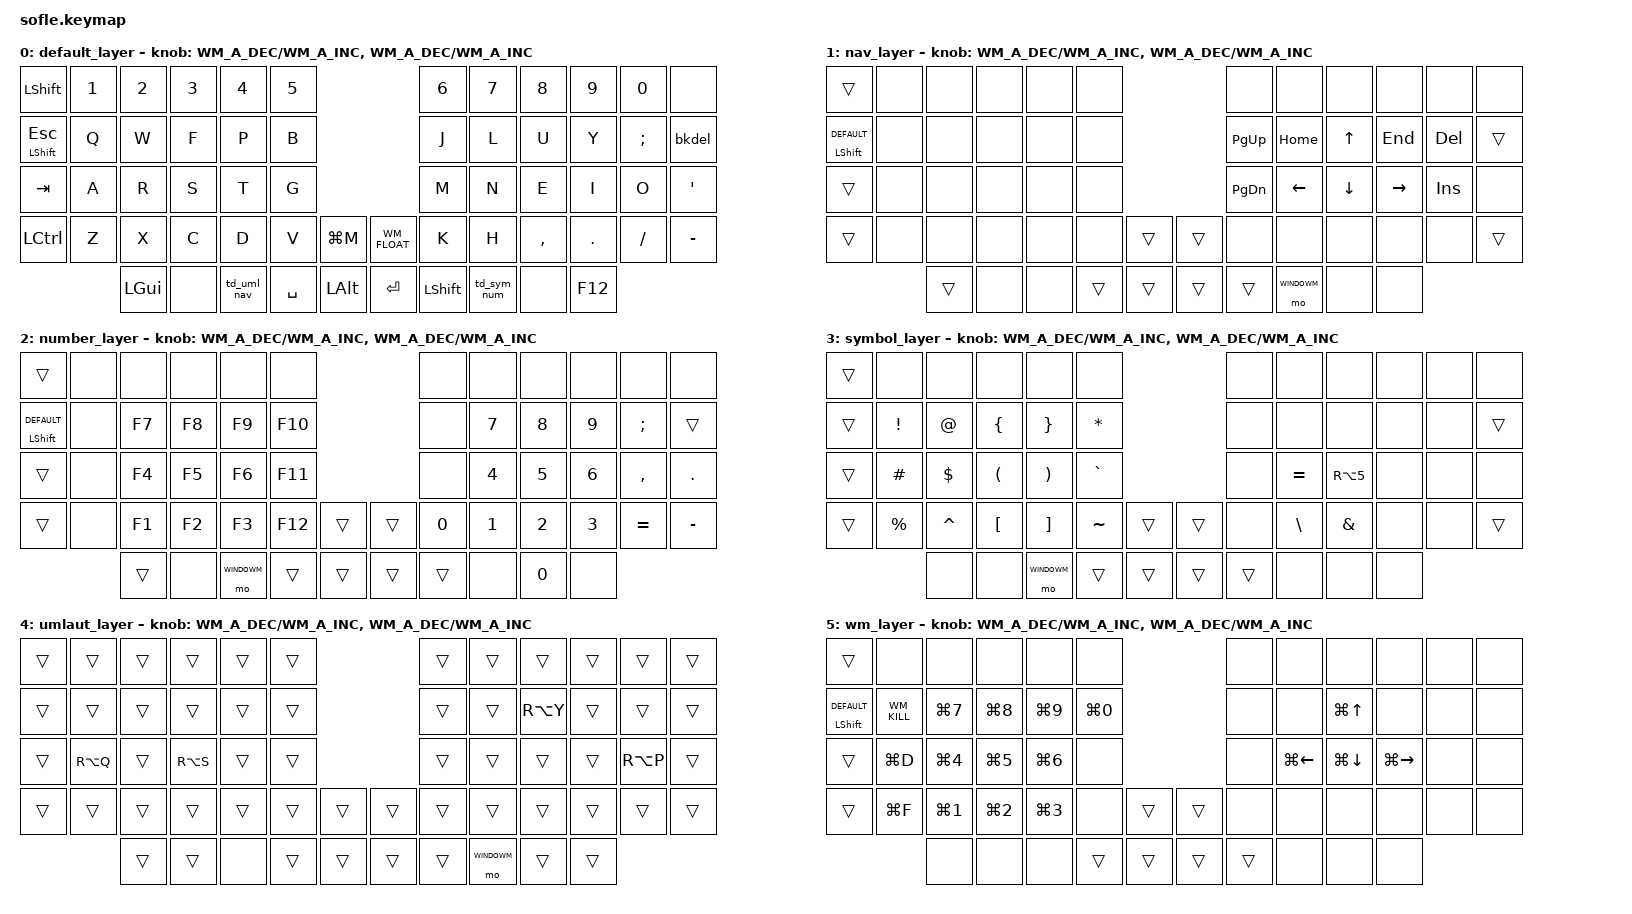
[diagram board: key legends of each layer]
/*
 * Copyright (c) 2020 The ZMK Contributors
 *
 * SPDX-License-Identifier: MIT
 */

#include <behaviors.dtsi>
#include <dt-bindings/zmk/keys.h>
#include <dt-bindings/zmk/bt.h>

#define UML_A RA(Q)
#define UML_S RA(S)
#define UML_U RA(Y)
#define UML_O RA(P)

#define SPC_E RA(N5)

#define WM_MUTE LG(M)
#define WM_A_INC LG(I)
#define WM_A_DEC LG(O)

#define WM_UP LG(UP)
#define WM_DOWN LG(DOWN)
#define WM_LEFT LG(LEFT)
#define WM_RIGHT LG(RIGHT)

#define WM_1 LG(N1)
#define WM_2 LG(N2)
#define WM_3 LG(N3)
#define WM_4 LG(N4)
#define WM_5 LG(N5)
#define WM_6 LG(N6)
#define WM_7 LG(N7)
#define WM_8 LG(N8)
#define WM_9 LG(N9)
#define WM_0 LG(N0)

#define WM_LAUN LG(D)
#define WM_FSCR LG(F)

#define DEFAULT    0
#define NAVIGATION 1
#define NUMBER     2
#define SYMBOL     3
#define UMLAUT     4
#define WINDOWM    5

#define ESCSHIFT &ho_tap LSHFT ESC
#define BACKSHIFT &ho_to LSHFT DEFAULT

/ {
    macros {
        WM_KILL: WM_KILL {
            label = "WM_KILL";
            compatible = "zmk,behavior-macro";
            #binding-cells = <0>;
            bindings
                = <&macro_press   &kp RGUI>
                , <&macro_press   &kp LSHFT>
                , <&macro_tap     &kp Q>
                , <&macro_release &kp LSHFT>
                , <&macro_release &kp RGUI>
                ;
        };
        WM_FLOAT: WM_FLOAT {
            label = "WM_FLOAT";
            compatible = "zmk,behavior-macro";
            #binding-cells = <0>;
            bindings
                = <&macro_press   &kp RGUI>
                , <&macro_press   &kp LSHFT>
                , <&macro_tap     &kp SPACE>
                , <&macro_release &kp LSHFT>
                , <&macro_release &kp RGUI>
                ;
        };
    };

    behaviors {
        bkdel: backspace_delete {
            compatible = "zmk,behavior-mod-morph";
            label = "BACKSPACE_DELETE";
            #binding-cells = <0>;
            bindings = <&kp BSPC>, <&kp DEL>;
            mods = <(MOD_LSFT)>;
        };
        mo_to: behavior_mo_to {
            compatible = "zmk,behavior-hold-tap";
            label = "mo_to";
            #binding-cells = <2>;
            flavor = "hold-preferred";
            tapping-term-ms = <200>;
            bindings = <&mo>, <&to>;
        };
        ho_tap: behavior_ho_tap {
            compatible = "zmk,behavior-hold-tap";
            label = "ho_tap";
            #binding-cells = <2>;
            flavor = "hold-preferred";
            tapping-term-ms = <200>;
            bindings = <&kp>, <&kp>;
        };
        ho_to: behavior_ho_to {
            compatible = "zmk,behavior-hold-tap";
            label = "ho_to";
            #binding-cells = <2>;
            flavor = "hold-preferred";
            tapping-term-ms = <200>;
            bindings = <&kp>, <&to>;
        };
        td_uml_nav: behavior_td_uml_nav {
            compatible = "zmk,behavior-tap-dance";
            label = "Tap Dance Umlaut Navigation";
            #binding-cells = <0>;
            tapping-term-ms = <200>;
            bindings = <&mo UMLAUT>, <&mo NAVIGATION>;
        };
        td_sym_num: behavior_td_sym_num {
            compatible = "zmk,behavior-tap-dance";
            label = "Tap Dance Symbol Number";
            #binding-cells = <0>;
            tapping-term-ms = <200>;
            bindings = <&mo SYMBOL>, <&mo NUMBER>;
        };
    };    

    keymap {
        compatible = "zmk,keymap";

        default_layer {
// ---------------------------------------------------------------------------------------------------------------
// | SHIFT |  1  |  2  |  3   |  4      |  5   |                  |  6   | 7       |  8    |  9   |   0   | ---- |
// |  ESCS |  Q  |  W  |  F   |  P      |  B   |                  |  J   | L       |  U    |  Y   |   ;   | BKSP |
// |  TAB  |  A  |  R  |  S   |  T      |  G   |                  |  M   | N       |  E    |  I   |   O   |   '  |
// |  CTRL |  Z  |  X  |  C   |  D      |  V   |  MUTE |  |       |  K   | H       |  ,    |  .   |   /   |   -  |
//               | GUI | ALT  | NAV_UML | SPACE|  ALT  |  | RETURN| SHIFT| NUM_SYM | ----- | F12  |
            bindings = <
&kp LSHFT &kp N1 &kp N2   &kp N3 &kp N4       &kp N5                           &kp N6     &kp N7      &kp N8    &kp N9   &kp N0   &none
ESCSHIFT  &kp Q  &kp W    &kp F  &kp P        &kp B                            &kp J      &kp L       &kp U     &kp Y    &kp SEMI &bkdel
&kp TAB   &kp A  &kp R    &kp S  &kp T        &kp G                            &kp M      &kp N       &kp E     &kp I    &kp O    &kp SQT
&kp LCTRL &kp Z  &kp X    &kp C  &kp D        &kp V     &kp WM_MUTE &WM_FLOAT  &kp K      &kp H       &kp COMMA &kp DOT  &kp FSLH &kp MINUS
                 &kp LGUI &none  &td_uml_nav  &kp SPACE &kp LALT    &kp RETURN &kp LSHFT  &td_sym_num &none     &kp F12
            >;

            sensor-bindings = <&inc_dec_kp WM_A_DEC WM_A_INC &inc_dec_kp WM_A_DEC WM_A_INC>;
        };

        nav_layer {
// TODO: Some binds are waiting for shifted keycode support.
// -------------------------------------------------------------------------------------------------------------
// |       | --- | --- |  --- |  --- |  --- |                   |  --- |  ---  |  ---  |  ---  |  ---  |  ---  |
// | BACK/S| --- | --- |  --- |  --- |  --- |                   |  PGU |  HOM  |  UP   |  END  |  DEL  |  BKSP |
// |       | --- | --- |  --- |  --- |  --- |                   |  PGD |  LEFT |  DOWN | RIGHT |  INS  |  ---  |
// |       | --- | --- |  --- |  --- |  --- |        |  |       |  --- |  ---  |  ---  |  ---  |  ---  |  ---  |
//               |     |  --- |  --- |      |        |  |       |      |  ---  |  ---  |  ---  |
            bindings = <
&trans      &none     &none  &none &none &none                  &none     &none       &none    &none     &none   &none
BACKSHIFT   &none     &none  &none &none &none                  &kp PG_UP &kp HOME    &kp UP   &kp END   &kp DEL &trans
&trans      &none     &none  &none &none &none                  &kp PG_DN &kp LEFT    &kp DOWN &kp RIGHT &kp INS &none
&trans      &none     &none  &none &none &none  &trans   &trans &none     &none       &none    &none     &none   &trans
                      &trans &none &none &trans &trans   &trans &trans    &mo WINDOWM &none    &none
            >;

            sensor-bindings = <&inc_dec_kp WM_A_DEC WM_A_INC &inc_dec_kp WM_A_DEC WM_A_INC>;
        };
        
        number_layer {
// TODO: Some binds are waiting for shifted keycode support.
// -------------------------------------------------------------------------------------------------------------
// |       | --- | --- |  --- |  --- |  --- |                   |  --- |  ---  |  ---  |  ---  |  ---  |  ---  |
// | BACK/S| --- | F7  |  F8  |  F9  |  F10 |                   |  --- |   7   |   8   |   9   |   ;   |       |
// |       | --- | F4  |  F5  |  F6  |  F11 |                   |  --- |   4   |   5   |   6   |   ,   |   .   |
// |       | --- | F1  |  F2  |  F3  |  F12 |        |  |       |   0  |   1   |   2   |   3   |   =   |   -   |
//               |     |  --- |  --- |      |        |  |       |      |  ---  |   0   |  ---  |
            bindings = <
&trans      &none     &none  &none  &none       &none                   &none   &none     &none     &none     &none     &none
BACKSHIFT   &none     &kp F7 &kp F8 &kp F9      &kp F10                 &none   &kp N7 &kp N8 &kp N9 &kp SEMI  &trans
&trans      &none     &kp F4 &kp F5 &kp F6      &kp F11                 &none   &kp N4 &kp N5 &kp N6 &kp COMMA &kp DOT
&trans      &none     &kp F1 &kp F2 &kp F3      &kp F12 &trans   &trans &kp N0  &kp N1 &kp N2 &kp N3 &kp EQUAL &kp MINUS
                      &trans &none  &mo WINDOWM &trans  &trans   &trans &trans  &none  &kp N0 &none
            >;

            sensor-bindings = <&inc_dec_kp WM_A_DEC WM_A_INC &inc_dec_kp WM_A_DEC WM_A_INC>;
        };
        
        symbol_layer {
// TODO: Some binds are waiting for shifted keycode support.
// -------------------------------------------------------------------------------------------------------------
// |       | --- | --- |  --- |  --- |  --- |                   |  --- |  ---  |  ---  |  ---  |  ---  |  ---  |
// |       |  !  |  @  |   {  |   }  |   *  |                   |  --- |  ---  |  ---  |  ---  |  ---  |       |
// |       |  #  |  $  |   (  |   )  |   `  |                   |  --- |   =   |   €   |  ---  |  ---  |  ---  |
// |       |  %  |  ^  |   [  |   ]  |   ~  |        |  |       |  --- |   \|  |   &   |  ---  |  ---  |  ---  |
//               | --- |  --- |  --- |      |        |  |       |      |  ---  |  ---  |  ---  |
            bindings = <
&trans &none     &none     &none    &none    &none                     &none    &none     &none     &none     &none   &none
&trans &kp EXCL  &kp AT    &kp LBRC &kp RBRC    &kp STAR                  &none    &none     &none     &none     &none   &trans
&trans &kp HASH  &kp DLLR  &kp LPAR &kp RPAR    &kp GRAVE                 &none    &kp EQUAL &kp SPC_E &none     &none    &none
&trans &kp PRCNT &kp CARET &kp LBKT &kp RBKT    &kp TILDE &trans   &trans &none    &kp BSLH  &kp AMPS  &none     &none   &trans
                 &none     &none    &mo WINDOWM &trans    &trans   &trans &trans   &none     &none     &none
            >;

            sensor-bindings = <&inc_dec_kp WM_A_DEC WM_A_INC &inc_dec_kp WM_A_DEC WM_A_INC>;
        };

        umlaut_layer {
            bindings = <
&trans &trans    &trans &trans    &trans &trans                 &trans &trans      &trans    &trans &trans    &trans
&trans &trans    &trans &trans    &trans &trans                 &trans &trans      &kp UML_U &trans &trans    &trans
&trans &kp UML_A &trans &kp UML_S &trans &trans                 &trans &trans      &trans    &trans &kp UML_O &trans
&trans &trans    &trans &trans    &trans &trans &trans   &trans &trans &trans      &trans    &trans &trans    &trans
                 &trans &trans    &none  &trans &trans   &trans &trans &mo WINDOWM &trans    &trans
            >;

            sensor-bindings = <&inc_dec_kp WM_A_DEC WM_A_INC &inc_dec_kp WM_A_DEC WM_A_INC>;
        };
        
        wm_layer {
// TODO: Some binds are waiting for shifted keycode support.
// --------------------------------------------------------------------------------------------------------------
// |       | ---  | --- |  --- |  --- |  --- |                   |  --- |  ---  |  ---  |  ---  |  ---  |  ---  |
// | BACK/S| KILL | LA7 |  LA8 |  LA9 |  --- |                   |  --- |  ---  |  UP   |  ---  |  ---  |  ---  |
// |       | LAUN | LA4 |  LA5 |  LA6 |  --- |                   |  --- |  LEFT |  DOWN | RIGHT |  ---  |  ---  |
// |       | FULL | LA1 |  LA2 |  LA3 |  --- |        |  |       |  --- |  ---  |  ---  |  ---  |  ---  |  ---  |
//                | --- |  --- |  LA0 |      |        |  |       |      |  ---  |  ---  |  ---  |
            bindings = <
&trans      &none       &none    &none    &none    &none                  &none  &none       &none       &none        &none   &none
BACKSHIFT   &WM_KILL    &kp WM_7 &kp WM_8 &kp WM_9 &kp WM_0               &none  &none       &kp WM_UP   &none        &none   &none
&trans      &kp WM_LAUN &kp WM_4 &kp WM_5 &kp WM_6 &none                  &none  &kp WM_LEFT &kp WM_DOWN &kp WM_RIGHT &none   &none
&trans      &kp WM_FSCR &kp WM_1 &kp WM_2 &kp WM_3 &none  &trans   &trans &none  &none       &none       &none        &none   &none
                        &none    &none    &none    &trans &trans   &trans  &trans &none       &none       &none
            >;

            sensor-bindings = <&inc_dec_kp WM_A_DEC WM_A_INC &inc_dec_kp WM_A_DEC WM_A_INC>;
        };
    };
};
